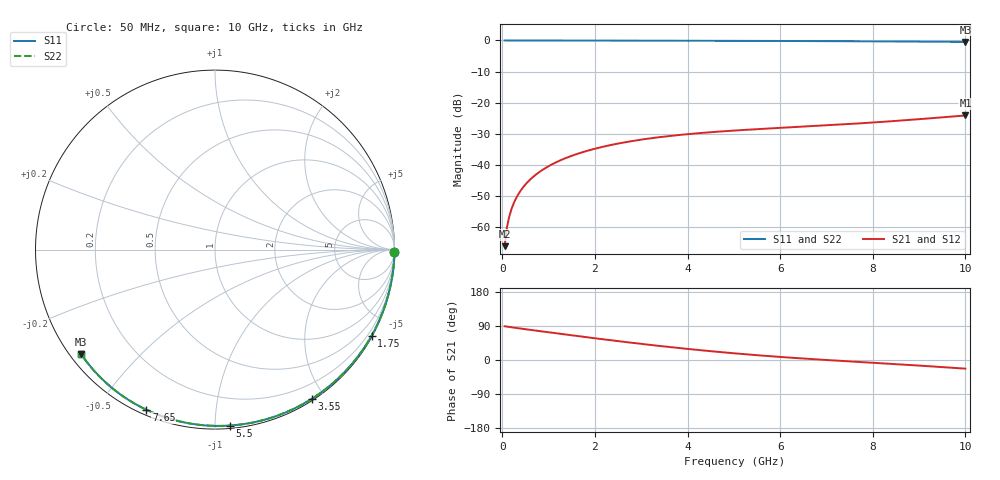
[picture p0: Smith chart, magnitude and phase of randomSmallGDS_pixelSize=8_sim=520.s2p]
! freq	dB(S11)	phase(S11)	dB(S12)	phase(S12)
!  dB(S21)	phase(S21)	dB(S22)	phase(S22)
!S-par simulation data
#  GHz  S  DB  R 50
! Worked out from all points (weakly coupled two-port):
!   200 points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, 50 MHz to 10 GHz, reference 50 ohm
!   highest |S21| = -24.17 dB at 10 GHz (marker M1); lowest = -66.3 dB at 50 MHz (marker M2)
!   lowest |S11| = -0.5 dB at 10 GHz (marker M3), VSWR 36.33, Z = 1.54 - j17.2 ohm
!   |S11| at or under -10 dB: nowhere
!   |S22| runs from -0.5 to 0.0 dB; largest |S21 - S12| = 0
!   S11 on the Smith chart (normalised r, x): 50 MHz: open; 1.75 GHz: 0.03, -3.88; 3.55 GHz: 0.02, -1.84; 5.5 GHz: 0.02, -1.09; 7.65 GHz: 0.02, -0.66; 10 GHz: 0.03, -0.34
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0.05  -0.00 -0.8  -66.26 89.0  -66.26 89.0  -0.00 -0.8
0.1  -0.00 -1.7  -60.25 88.1  -60.25 88.1  -0.00 -1.7
0.15  -0.00 -2.5  -56.74 87.2  -56.74 87.2  -0.00 -2.5
0.2  -0.00 -3.4  -54.25 86.3  -54.25 86.3  -0.00 -3.4
0.25  -0.00 -4.2  -52.33 85.4  -52.33 85.4  -0.00 -4.2
0.35  -0.00 -5.9  -49.44 83.7  -49.44 83.7  -0.00 -5.9
0.5  -0.01 -8.4  -46.38 81.2  -46.38 81.2  -0.01 -8.4
0.7  -0.01 -11.7  -43.51 78.0  -43.51 78.0  -0.01 -11.7
1  -0.02 -16.6  -40.49 73.2  -40.49 73.2  -0.02 -16.6
1.35  -0.03 -22.4  -38.00 67.5  -38.00 67.5  -0.03 -22.4
1.75  -0.04 -28.9  -35.91 61.2  -35.91 61.2  -0.04 -28.9
2.5  -0.05 -40.8  -33.21 49.8  -33.21 49.8  -0.05 -40.8
3.4  -0.07 -54.7  -31.14 37.0  -31.14 37.0  -0.07 -54.7
3.55  -0.08 -57.0  -30.88 35.0  -30.88 35.0  -0.08 -57.0
4.3  -0.10 -68.1  -29.79 25.6  -29.79 25.6  -0.10 -68.1
5.05  -0.12 -78.8  -28.98 17.2  -28.98 17.2  -0.12 -78.8
5.5  -0.14 -85.1  -28.57 12.7  -28.57 12.7  -0.14 -85.0
6.7  -0.20 -101.1  -27.60 2.3  -27.60 2.3  -0.20 -101.0
7.65  -0.26 -113.2  -26.77 -4.8  -26.77 -4.8  -0.26 -113.2
8.35  -0.31 -121.9  -26.07 -9.8  -26.07 -9.8  -0.31 -121.9
9.2  -0.39 -132.3  -25.12 -16.3  -25.12 -16.3  -0.39 -132.3
10  -0.48 -142.1  -24.17 -22.8  -24.17 -22.8  -0.48 -142.1
